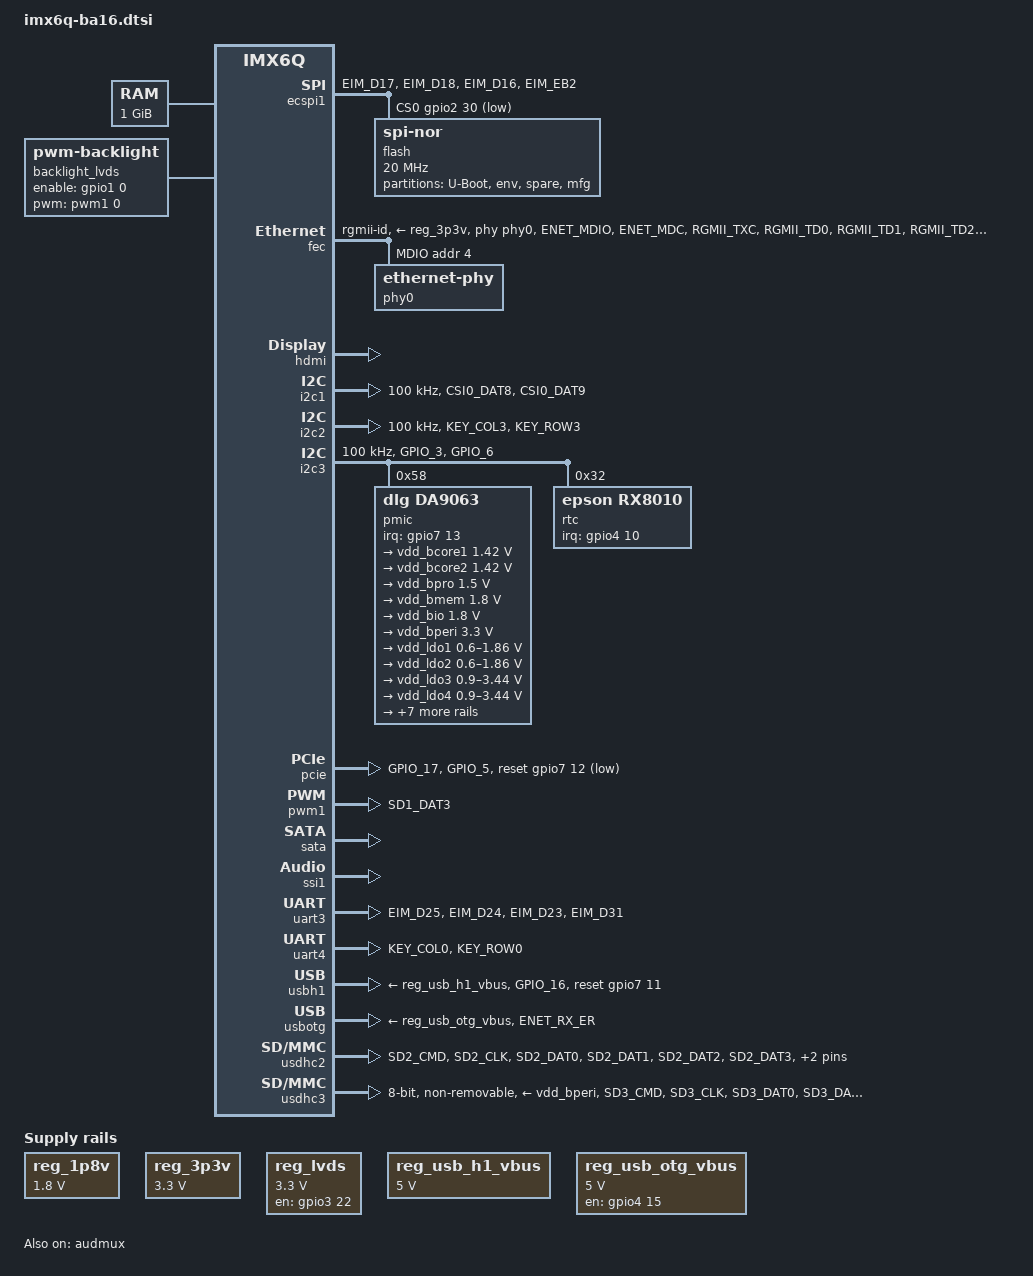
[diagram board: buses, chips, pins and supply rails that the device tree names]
/*
 * Support for imx6 based Advantech DMS-BA16 Qseven module
 *
 * Copyright 2015 Timesys Corporation.
 * Copyright 2015 General Electric Company
 *
 * This file is dual-licensed: you can use it either under the terms
 * of the GPL or the X11 license, at your option. Note that this dual
 * licensing only applies to this file, and not this project as a
 * whole.
 *
 *  a) This file is free software; you can redistribute it and/or
 *     modify it under the terms of the GNU General Public License
 *     version 2 as published by the Free Software Foundation.
 *
 *     This file is distributed in the hope that it will be useful,
 *     but WITHOUT ANY WARRANTY; without even the implied warranty of
 *     MERCHANTABILITY or FITNESS FOR A PARTICULAR PURPOSE.  See the
 *     GNU General Public License for more details.
 *
 * Or, alternatively,
 *
 *  b) Permission is hereby granted, free of charge, to any person
 *     obtaining a copy of this software and associated documentation
 *     files (the "Software"), to deal in the Software without
 *     restriction, including without limitation the rights to use,
 *     copy, modify, merge, publish, distribute, sublicense, and/or
 *     sell copies of the Software, and to permit persons to whom the
 *     Software is furnished to do so, subject to the following
 *     conditions:
 *
 *     The above copyright notice and this permission notice shall be
 *     included in all copies or substantial portions of the Software.
 *
 *     THE SOFTWARE IS PROVIDED "AS IS", WITHOUT WARRANTY OF ANY KIND,
 *     EXPRESS OR IMPLIED, INCLUDING BUT NOT LIMITED TO THE WARRANTIES
 *     OF MERCHANTABILITY, FITNESS FOR A PARTICULAR PURPOSE AND
 *     NONINFRINGEMENT. IN NO EVENT SHALL THE AUTHORS OR COPYRIGHT
 *     HOLDERS BE LIABLE FOR ANY CLAIM, DAMAGES OR OTHER LIABILITY,
 *     WHETHER IN AN ACTION OF CONTRACT, TORT OR OTHERWISE, ARISING
 *     FROM, OUT OF OR IN CONNECTION WITH THE SOFTWARE OR THE USE OR
 *     OTHER DEALINGS IN THE SOFTWARE.
 */

#include "imx6q.dtsi"
#include <dt-bindings/gpio/gpio.h>

/ {
	memory@10000000 {
		device_type = "memory";
		reg = <0x10000000 0x40000000>;
	};

	backlight_lvds: backlight {
		compatible = "pwm-backlight";
		pinctrl-names = "default";
		pinctrl-0 = <&pinctrl_display>;
		pwms = <&pwm1 0 5000000>;
		brightness-levels = <  0   1   2   3   4   5   6   7   8   9
				      10  11  12  13  14  15  16  17  18  19
				      20  21  22  23  24  25  26  27  28  29
				      30  31  32  33  34  35  36  37  38  39
				      40  41  42  43  44  45  46  47  48  49
				      50  51  52  53  54  55  56  57  58  59
				      60  61  62  63  64  65  66  67  68  69
				      70  71  72  73  74  75  76  77  78  79
				      80  81  82  83  84  85  86  87  88  89
				      90  91  92  93  94  95  96  97  98  99
				     100 101 102 103 104 105 106 107 108 109
				     110 111 112 113 114 115 116 117 118 119
				     120 121 122 123 124 125 126 127 128 129
				     130 131 132 133 134 135 136 137 138 139
				     140 141 142 143 144 145 146 147 148 149
				     150 151 152 153 154 155 156 157 158 159
				     160 161 162 163 164 165 166 167 168 169
				     170 171 172 173 174 175 176 177 178 179
				     180 181 182 183 184 185 186 187 188 189
				     190 191 192 193 194 195 196 197 198 199
				     200 201 202 203 204 205 206 207 208 209
				     210 211 212 213 214 215 216 217 218 219
				     220 221 222 223 224 225 226 227 228 229
				     230 231 232 233 234 235 236 237 238 239
				     240 241 242 243 244 245 246 247 248 249
				     250 251 252 253 254 255>;
		default-brightness-level = <255>;
		enable-gpios = <&gpio1 0 GPIO_ACTIVE_HIGH>;
	};

	reg_1p8v: regulator-1p8v {
		compatible = "regulator-fixed";
		regulator-name = "1P8V";
		regulator-min-microvolt = <1800000>;
		regulator-max-microvolt = <1800000>;
		regulator-always-on;
	};

	reg_3p3v: regulator-3p3v {
		compatible = "regulator-fixed";
		regulator-name = "3P3V";
		regulator-min-microvolt = <3300000>;
		regulator-max-microvolt = <3300000>;
		regulator-always-on;
	};

	reg_lvds: regulator-lvds {
		compatible = "regulator-fixed";
		regulator-name = "lvds_ppen";
		regulator-min-microvolt = <3300000>;
		regulator-max-microvolt = <3300000>;
		regulator-boot-on;
		gpio = <&gpio3 22 GPIO_ACTIVE_HIGH>;
		enable-active-high;
	};

	reg_usb_h1_vbus: regulator-usbh1vbus {
		compatible = "regulator-fixed";
		regulator-name = "usb_h1_vbus";
		regulator-min-microvolt = <5000000>;
		regulator-max-microvolt = <5000000>;
	};

	reg_usb_otg_vbus: regulator-usbotgvbus {
		compatible = "regulator-fixed";
		regulator-name = "usb_otg_vbus";
		regulator-min-microvolt = <5000000>;
		regulator-max-microvolt = <5000000>;
		pinctrl-0 = <&pinctrl_usbotg_vbus>;
		gpio = <&gpio4 15 GPIO_ACTIVE_HIGH>;
		enable-active-high;
	};
};

&audmux {
	pinctrl-names = "default";
	pinctrl-0 = <&pinctrl_audmux>;
	status = "okay";
};

&ecspi1 {
	cs-gpios = <&gpio2 30 GPIO_ACTIVE_LOW>;
	pinctrl-names = "default";
	pinctrl-0 = <&pinctrl_ecspi1>;
	status = "okay";

	flash: flash@0 {
		compatible = "jedec,spi-nor";
		#address-cells = <1>;
		#size-cells = <1>;
		spi-max-frequency = <20000000>;
		reg = <0>;

		partition@0 {
			label = "U-Boot";
			reg = <0x0 0xc0000>;
		};

		partition@c0000 {
			label = "env";
			reg = <0xc0000 0x10000>;
		};

		partition@d0000 {
			label = "spare";
			reg = <0xd0000 0x320000>;
		};

		partition@3f0000 {
			label = "mfg";
			reg = <0x3f0000 0x10000>;
		};
	};
};

&fec {
	pinctrl-names = "default";
	pinctrl-0 = <&pinctrl_enet>;
	phy-mode = "rgmii-id";
	phy-supply = <&reg_3p3v>;
	phy-handle = <&phy0>;
	status = "okay";

	mdio {
		#address-cells = <1>;
		#size-cells = <0>;

		phy0: ethernet-phy@4 {
			reg = <4>;
			qca,clk-out-frequency = <125000000>;
		};
	};
};

&hdmi {
	ddc-i2c-bus = <&i2c2>;
	status = "okay";
};

&i2c1 {
	clock-frequency = <100000>;
	pinctrl-names = "default";
	pinctrl-0 = <&pinctrl_i2c1>;
	status = "okay";
};

&i2c2 {
	clock-frequency = <100000>;
	pinctrl-names = "default";
	pinctrl-0 = <&pinctrl_i2c2>;
	status = "okay";
};

&i2c3 {
	clock-frequency = <100000>;
	pinctrl-names = "default";
	pinctrl-0 = <&pinctrl_i2c3>;
	status = "okay";

	pmic@58 {
		compatible = "dlg,da9063";
		reg = <0x58>;
		pinctrl-names = "default";
		pinctrl-0 = <&pinctrl_pmic>;
		interrupt-parent = <&gpio7>;
		interrupts = <13 IRQ_TYPE_LEVEL_LOW>;

		onkey {
			compatible = "dlg,da9063-onkey";
		};

		regulators {
			vdd_bcore1: bcore1 {
				regulator-min-microvolt = <1420000>;
				regulator-max-microvolt = <1420000>;
				regulator-always-on;
				regulator-boot-on;
			};

			vdd_bcore2: bcore2 {
				regulator-min-microvolt = <1420000>;
				regulator-max-microvolt = <1420000>;
				regulator-always-on;
				regulator-boot-on;
			};

			vdd_bpro: bpro {
				regulator-min-microvolt = <1500000>;
				regulator-max-microvolt = <1500000>;
				regulator-always-on;
				regulator-boot-on;
			};

			vdd_bmem: bmem {
				regulator-min-microvolt = <1800000>;
				regulator-max-microvolt = <1800000>;
				regulator-always-on;
				regulator-boot-on;
			};

			vdd_bio: bio {
				regulator-min-microvolt = <1800000>;
				regulator-max-microvolt = <1800000>;
				regulator-always-on;
				regulator-boot-on;
			};

			vdd_bperi: bperi {
				regulator-min-microvolt = <3300000>;
				regulator-max-microvolt = <3300000>;
				regulator-always-on;
				regulator-boot-on;
			};

			vdd_ldo1: ldo1 {
				regulator-min-microvolt = <600000>;
				regulator-max-microvolt = <1860000>;
			};

			vdd_ldo2: ldo2 {
				regulator-min-microvolt = <600000>;
				regulator-max-microvolt = <1860000>;
			};

			vdd_ldo3: ldo3 {
				regulator-min-microvolt = <900000>;
				regulator-max-microvolt = <3440000>;
			};

			vdd_ldo4: ldo4 {
				regulator-min-microvolt = <900000>;
				regulator-max-microvolt = <3440000>;
			};

			vdd_ldo5: ldo5 {
				regulator-min-microvolt = <900000>;
				regulator-max-microvolt = <3600000>;
			};

			vdd_ldo6: ldo6 {
				regulator-min-microvolt = <900000>;
				regulator-max-microvolt = <3600000>;
			};

			vdd_ldo7: ldo7 {
				regulator-min-microvolt = <900000>;
				regulator-max-microvolt = <3600000>;
			};

			vdd_ldo8: ldo8 {
				regulator-min-microvolt = <900000>;
				regulator-max-microvolt = <3600000>;
			};

			vdd_ldo9: ldo9 {
				regulator-min-microvolt = <950000>;
				regulator-max-microvolt = <3600000>;
			};

			vdd_ldo10: ldo10 {
				regulator-min-microvolt = <900000>;
				regulator-max-microvolt = <3600000>;
			};

			vdd_ldo11: ldo11 {
				regulator-min-microvolt = <900000>;
				regulator-max-microvolt = <3600000>;
				regulator-always-on;
				regulator-boot-on;
			};
		};
	};

	rtc@32 {
		compatible = "epson,rx8010";
		pinctrl-names = "default";
		pinctrl-0 = <&pinctrl_rtc>;
		reg = <0x32>;
		interrupt-parent = <&gpio4>;
		interrupts = <10 IRQ_TYPE_LEVEL_HIGH>;
	};
};

&pcie {
	pinctrl-names = "default";
	pinctrl-0 = <&pinctrl_pcie>;
	reset-gpio = <&gpio7 12 GPIO_ACTIVE_LOW>;
	fsl,tx-swing-full = <103>;
	fsl,tx-swing-low = <103>;
	status = "okay";
};

&pwm1 {
	#pwm-cells = <2>;
	pinctrl-names = "default";
	pinctrl-0 = <&pinctrl_pwm1>;
	status = "okay";
};

&pwm2 {
	pinctrl-names = "default";
	pinctrl-0 = <&pinctrl_pwm2>;
	status = "disabled";
};

&sata {
	status = "okay";
};

&ssi1 {
	status = "okay";
};

&uart3 {
	pinctrl-names = "default";
	pinctrl-0 = <&pinctrl_uart3>;
	uart-has-rtscts;
	status = "okay";
};

&uart4 {
	pinctrl-names = "default";
	pinctrl-0 = <&pinctrl_uart4>;
	status = "okay";
};

&usbh1 {
	pinctrl-names = "default";
	pinctrl-0 = <&pinctrl_usbhub>;
	vbus-supply = <&reg_usb_h1_vbus>;
	reset-gpios = <&gpio7 11 GPIO_ACTIVE_HIGH>;
	status = "okay";
};

&usbotg {
	vbus-supply = <&reg_usb_otg_vbus>;
	pinctrl-names = "default";
	pinctrl-0 = <&pinctrl_usbotg>;
	disable-over-current;
	status = "okay";
};

&usdhc2 {
	pinctrl-names = "default";
	pinctrl-0 = <&pinctrl_usdhc2>;
	cd-gpios = <&gpio1 4 GPIO_ACTIVE_LOW>;
	no-1-8-v;
	keep-power-in-suspend;
	wakeup-source;
	status = "okay";
};

&usdhc3 {
	pinctrl-names = "default";
	pinctrl-0 = <&pinctrl_usdhc3 &pinctrl_usdhc3_reset>;
	bus-width = <8>;
	vmmc-supply = <&vdd_bperi>;
	non-removable;
	keep-power-in-suspend;
	status = "okay";
};

&wdog1 {
	pinctrl-names = "default";
	pinctrl-0 = <&pinctrl_wdog>;
	fsl,ext-reset-output;
};

&iomuxc {
	pinctrl-names = "default";
	pinctrl-0 = <&pinctrl_hog>;

	pinctrl_audmux: audmuxgrp {
		fsl,pins = <
			MX6QDL_PAD_DISP0_DAT20__AUD4_TXC  0x130b0
			MX6QDL_PAD_DISP0_DAT21__AUD4_TXD  0x130b0
			MX6QDL_PAD_DISP0_DAT22__AUD4_TXFS 0x130b0
			MX6QDL_PAD_DISP0_DAT23__AUD4_RXD  0x130b0
		>;
	};

	pinctrl_display: dispgrp {
		fsl,pins = <
			/* BLEN_OUT */
			MX6QDL_PAD_GPIO_0__GPIO1_IO00    0x1b0b0
			/* LVDS_PPEN_OUT */
			MX6QDL_PAD_EIM_D22__GPIO3_IO22   0x1b0b0
		>;
	};

	pinctrl_ecspi1: ecspi1grp {
		fsl,pins = <
			MX6QDL_PAD_EIM_D17__ECSPI1_MISO	0x100b1
			MX6QDL_PAD_EIM_D18__ECSPI1_MOSI	0x100b1
			MX6QDL_PAD_EIM_D16__ECSPI1_SCLK	0x100b1
			/* SPI1 CS */
			MX6QDL_PAD_EIM_EB2__GPIO2_IO30	0x1b0b0
		>;
	};

	pinctrl_ecspi5: ecspi5grp {
		fsl,pins = <
			MX6QDL_PAD_SD1_DAT0__ECSPI5_MISO	0x1b0b0
			MX6QDL_PAD_SD1_CMD__ECSPI5_MOSI		0x1b0b0
			MX6QDL_PAD_SD1_CLK__ECSPI5_SCLK		0x1b0b0
			MX6QDL_PAD_SD1_DAT1__GPIO1_IO17		0x1b0b0
		>;
	};

	pinctrl_enet: enetgrp {
		fsl,pins = <
			MX6QDL_PAD_ENET_MDIO__ENET_MDIO       0x100b0
			MX6QDL_PAD_ENET_MDC__ENET_MDC         0x100b0
			MX6QDL_PAD_RGMII_TXC__RGMII_TXC       0x10030
			MX6QDL_PAD_RGMII_TD0__RGMII_TD0       0x10030
			MX6QDL_PAD_RGMII_TD1__RGMII_TD1       0x10030
			MX6QDL_PAD_RGMII_TD2__RGMII_TD2       0x10030
			MX6QDL_PAD_RGMII_TD3__RGMII_TD3       0x10030
			MX6QDL_PAD_RGMII_TX_CTL__RGMII_TX_CTL 0x10030
			MX6QDL_PAD_ENET_REF_CLK__ENET_TX_CLK  0x100b0
			MX6QDL_PAD_RGMII_RXC__RGMII_RXC       0x1b030
			MX6QDL_PAD_RGMII_RD0__RGMII_RD0       0x1b030
			MX6QDL_PAD_RGMII_RD1__RGMII_RD1       0x1b030
			MX6QDL_PAD_RGMII_RD2__RGMII_RD2       0x1b030
			MX6QDL_PAD_RGMII_RD3__RGMII_RD3       0x1b030
			MX6QDL_PAD_RGMII_RX_CTL__RGMII_RX_CTL 0x1b030
			/* FEC Reset */
			MX6QDL_PAD_ENET_TX_EN__GPIO1_IO28     0x1b0b0
			/* AR8033 Interrupt */
			MX6QDL_PAD_GPIO_19__GPIO4_IO05        0x1b0b0
		>;
	};

	pinctrl_hog: hoggrp {
		fsl,pins = <
			/* GPIO 0-7 */
			MX6QDL_PAD_NANDF_D0__GPIO2_IO00  0x1b0b0
			MX6QDL_PAD_NANDF_D1__GPIO2_IO01  0x1b0b0
			MX6QDL_PAD_NANDF_D2__GPIO2_IO02  0x1b0b0
			MX6QDL_PAD_NANDF_D3__GPIO2_IO03  0x1b0b0
			MX6QDL_PAD_NANDF_D4__GPIO2_IO04  0x1b0b0
			MX6QDL_PAD_NANDF_D5__GPIO2_IO05  0x1b0b0
			MX6QDL_PAD_NANDF_D6__GPIO2_IO06  0x1b0b0
			MX6QDL_PAD_NANDF_D7__GPIO2_IO07  0x1b0b0
			/* SUS_S3_OUT to CPLD */
			MX6QDL_PAD_KEY_ROW2__GPIO4_IO11  0x1b0b0
		>;
	};

	pinctrl_i2c1: i2c1grp {
		fsl,pins = <
			MX6QDL_PAD_CSI0_DAT8__I2C1_SDA	0x4001b8b1
			MX6QDL_PAD_CSI0_DAT9__I2C1_SCL	0x4001b8b1
		>;
	};

	pinctrl_i2c2: i2c2grp {
		fsl,pins = <
			MX6QDL_PAD_KEY_COL3__I2C2_SCL	0x4001b8b1
			MX6QDL_PAD_KEY_ROW3__I2C2_SDA	0x4001b8b1
		>;
	};

	pinctrl_i2c3: i2c3grp {
		fsl,pins = <
			MX6QDL_PAD_GPIO_3__I2C3_SCL	0x4001b8b1
			MX6QDL_PAD_GPIO_6__I2C3_SDA	0x4001b8b1
		>;
	};

	pinctrl_pcie: pciegrp {
		fsl,pins = <
			/* PCIe Reset */
			MX6QDL_PAD_GPIO_17__GPIO7_IO12	0x1b0b0
			/* PCIe Wake */
			MX6QDL_PAD_GPIO_5__GPIO1_IO05	0x1b0b0
		>;
	};

	pinctrl_pmic: pmicgrp {
		fsl,pins = <
			/* PMIC Interrupt */
			MX6QDL_PAD_GPIO_18__GPIO7_IO13	0x1b0b0
		>;
	};

	pinctrl_pwm1: pwm1grp {
		fsl,pins = <
			MX6QDL_PAD_SD1_DAT3__PWM1_OUT	0x1b0b1
		>;
	};

	pinctrl_pwm2: pwm2grp {
		fsl,pins = <
			MX6QDL_PAD_GPIO_1__PWM2_OUT	0x1b0b1
		>;
	};

	pinctrl_rtc: rtcgrp {
		fsl,pins = <
			/* RTC_INT */
			MX6QDL_PAD_KEY_COL2__GPIO4_IO10	0x1b0b0
		>;
	};

	pinctrl_uart3: uart3grp {
		fsl,pins = <
			MX6QDL_PAD_EIM_D25__UART3_RX_DATA 0x1b0b1
			MX6QDL_PAD_EIM_D24__UART3_TX_DATA 0x1b0b1
			MX6QDL_PAD_EIM_D23__UART3_CTS_B   0x1b0b1
			MX6QDL_PAD_EIM_D31__UART3_RTS_B   0x1b0b1
		>;
	};

	pinctrl_uart4: uart4grp {
		fsl,pins = <
			MX6QDL_PAD_KEY_COL0__UART4_TX_DATA 0x1b0b1
			MX6QDL_PAD_KEY_ROW0__UART4_RX_DATA 0x1b0b1
		>;
	};

	pinctrl_usbhub: usbhubgrp {
		fsl,pins = <
			/* HUB_RESET */
			MX6QDL_PAD_GPIO_16__GPIO7_IO11	0x1b0b0
		>;
	};

	pinctrl_usbotg: usbotggrp {
		fsl,pins = <
			MX6QDL_PAD_ENET_RX_ER__USB_OTG_ID 0x17059
		>;
	};

	pinctrl_usbotg_vbus: usbotgvbusgrp {
		fsl,pins = <
			MX6QDL_PAD_KEY_ROW4__GPIO4_IO15 0x000b0
		>;
	};

	pinctrl_usdhc2: usdhc2grp {
		fsl,pins = <
			MX6QDL_PAD_SD2_CMD__SD2_CMD	0x17059
			MX6QDL_PAD_SD2_CLK__SD2_CLK	0x10059
			MX6QDL_PAD_SD2_DAT0__SD2_DATA0	0x17059
			MX6QDL_PAD_SD2_DAT1__SD2_DATA1	0x17059
			MX6QDL_PAD_SD2_DAT2__SD2_DATA2	0x17059
			MX6QDL_PAD_SD2_DAT3__SD2_DATA3	0x17059
			/* uSDHC2 CD */
			MX6QDL_PAD_GPIO_4__GPIO1_IO04	0x1b0b0
		>;
	};

	pinctrl_usdhc3: usdhc3grp {
		fsl,pins = <
			MX6QDL_PAD_SD3_CMD__SD3_CMD	0x17059
			MX6QDL_PAD_SD3_CLK__SD3_CLK	0x10059
			MX6QDL_PAD_SD3_DAT0__SD3_DATA0	0x17059
			MX6QDL_PAD_SD3_DAT1__SD3_DATA1	0x17059
			MX6QDL_PAD_SD3_DAT2__SD3_DATA2	0x17059
			MX6QDL_PAD_SD3_DAT3__SD3_DATA3	0x17059
			MX6QDL_PAD_SD3_DAT4__SD3_DATA4	0x17059
			MX6QDL_PAD_SD3_DAT5__SD3_DATA5	0x17059
			MX6QDL_PAD_SD3_DAT6__SD3_DATA6	0x17059
			MX6QDL_PAD_SD3_DAT7__SD3_DATA7	0x17059
		>;
	};

	pinctrl_usdhc3_reset: usdhc3grp-reset {
		fsl,pins = <
			MX6QDL_PAD_SD3_RST__SD3_RESET   0x170F9
		>;
	};

	pinctrl_usdhc4: usdhc4grp {
		fsl,pins = <
			MX6QDL_PAD_SD4_CMD__SD4_CMD	0x17059
			MX6QDL_PAD_SD4_CLK__SD4_CLK	0x17059
			MX6QDL_PAD_SD4_DAT0__SD4_DATA0	0x17059
			MX6QDL_PAD_SD4_DAT1__SD4_DATA1	0x17059
			MX6QDL_PAD_SD4_DAT2__SD4_DATA2	0x17059
			MX6QDL_PAD_SD4_DAT3__SD4_DATA3	0x17059
			MX6QDL_PAD_SD4_DAT4__SD4_DATA4	0x17059
			MX6QDL_PAD_SD4_DAT5__SD4_DATA5	0x17059
			MX6QDL_PAD_SD4_DAT6__SD4_DATA6	0x17059
			MX6QDL_PAD_SD4_DAT7__SD4_DATA7	0x17059
			/* uSDHC4 CD */
			MX6QDL_PAD_NANDF_CS0__GPIO6_IO11 0x1b0b0
			/* uSDHC4 SDIO PWR */
			MX6QDL_PAD_NANDF_CS1__GPIO6_IO14 0x1b0b0
			/* uSDHC4 SDIO WP */
			MX6QDL_PAD_NANDF_CS2__GPIO6_IO15 0x1b0b0
			/* uSDHC4 SDIO LED */
			MX6QDL_PAD_NANDF_CS3__GPIO6_IO16 0x1b0b0
		>;
	};

	pinctrl_wdog: wdoggrp {
		fsl,pins = <
			MX6QDL_PAD_GPIO_9__WDOG1_B	0x1b0b0
		>;
	};
};
